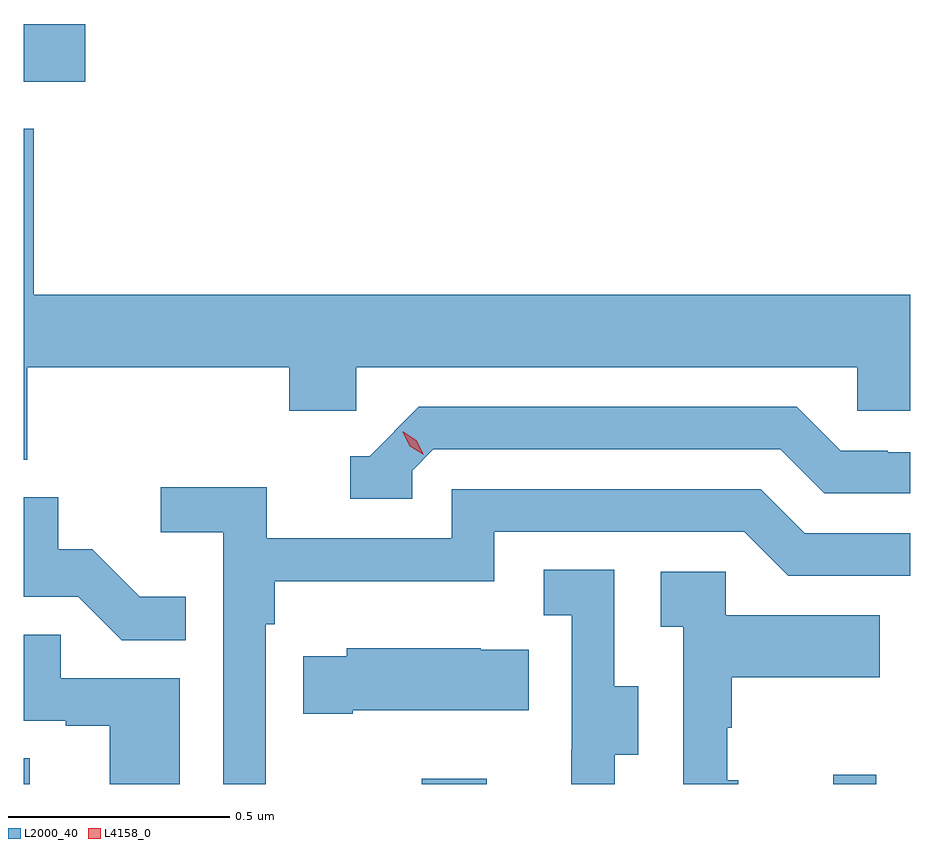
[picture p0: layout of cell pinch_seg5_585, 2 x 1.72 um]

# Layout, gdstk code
import gdstk
lib = gdstk.Library(unit=1e-6, precision=1e-09)
def R(c, l, rs):  # rectangles x0, y0, x1, y1
    for r in rs: c.add(gdstk.rectangle(r[:2], r[2:], *l))
def P(c, l, *ps):  # polygons
    for p in ps: c.add(gdstk.Polygon(p, *l))
L2000_40 = (2000, 40)
L4158_0 = (4158, 0)

pinch_seg5_585 = lib.new_cell('pinch_seg5_585')
R(pinch_seg5_585, L2000_40, [(1142.172,865.144,1142.185,865.202), (1143.07,865.144,1143.217,865.156), (1143.998,865.144,1144.095,865.165), (1142.172,866.729,1142.311,866.859)])
P(pinch_seg5_585, L2000_40, [(1142.18,866.084),(1142.771,866.084),(1142.771,865.986),(1142.922,865.986),(1142.922,866.084),(1144.053,866.084),(1144.053,865.986),(1144.172,865.986),(1144.172,866.248),(1142.194,866.248),(1142.194,866.623),(1142.172,866.623),(1142.172,865.876),(1142.18,865.876)],
  [(1143.048,865.851),(1143.096,865.899),(1143.879,865.899),(1143.978,865.8),(1144.172,865.8),(1144.172,865.893),(1144.122,865.893),(1144.122,865.896),(1144.015,865.896),(1143.916,865.995),(1143.063,865.995),(1142.952,865.884),(1142.909,865.884),(1142.909,865.788),(1143.048,865.788)],
  [(1142.718,865.505),(1142.738,865.505),(1142.738,865.601),(1143.234,865.601),(1143.234,865.713),(1143.798,865.713),(1143.897,865.614),(1144.172,865.614),(1144.172,865.71),(1143.934,865.71),(1143.835,865.809),(1143.138,865.809),(1143.138,865.698),(1142.72,865.698),(1142.72,865.814),(1142.481,865.814),(1142.481,865.712),(1142.622,865.712),(1142.622,865.144),(1142.718,865.144)],
  [(1142.537,865.567),(1142.433,865.567),(1142.326,865.674),(1142.25,865.674),(1142.25,865.791),(1142.172,865.791),(1142.172,865.566),(1142.295,865.566),(1142.393,865.468),(1142.537,865.468)],
  [(1143.505,865.21),(1143.559,865.21),(1143.559,865.365),(1143.504,865.365),(1143.504,865.628),(1143.345,865.628),(1143.345,865.525),(1143.408,865.525),(1143.408,865.221),(1143.407,865.221),(1143.407,865.144),(1143.505,865.144)],
  [(1143.784,865.152),(1143.759,865.152),(1143.759,865.271),(1143.769,865.271),(1143.769,865.385),(1144.103,865.385),(1144.103,865.525),(1143.756,865.525),(1143.756,865.623),(1143.609,865.623),(1143.609,865.499),(1143.66,865.499),(1143.66,865.144),(1143.784,865.144)],
  [(1142.524,865.383),(1142.255,865.383),(1142.255,865.481),(1142.172,865.481),(1142.172,865.287),(1142.267,865.287),(1142.267,865.275),(1142.366,865.275),(1142.366,865.144),(1142.524,865.144)],
  [(1142.914,865.31),(1143.311,865.31),(1143.311,865.447),(1143.203,865.447),(1143.203,865.45),(1142.901,865.45),(1142.901,865.432),(1142.803,865.432),(1142.803,865.303),(1142.914,865.303)])
P(pinch_seg5_585, L4158_0, [(1143.074,865.887),(1143.043,865.906),(1143.027,865.939),(1143.027,865.939),(1143.028,865.939),(1143.058,865.92),(1143.074,865.887),(1143.074,865.887)])

lib.write_gds('pinch_seg5_585.gds')
